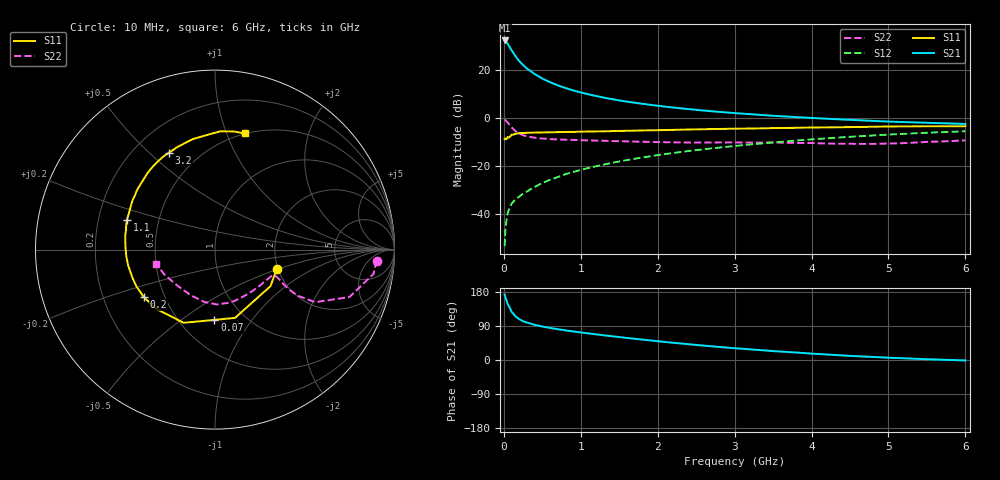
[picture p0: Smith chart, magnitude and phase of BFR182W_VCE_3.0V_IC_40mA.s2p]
! Infineon Technologies  Discrete & RF Semiconductors
! BFR182W
! VCE =  3.0 V,  IC =  40 mA
! Common Emitter S-Parameters:  Jan 2017
# GHz  S  MA  R  50
!  f  S11  S21  S12  S22
! GHz  MAG  ANG  MAG  ANG  MAG  ANG  MAG  ANG
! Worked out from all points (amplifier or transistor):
!   77 points, 10 MHz to 6 GHz, reference 50 ohm
!   highest |S21| = 32.3 dB at 10 MHz (marker M1)
!   |S21| within 3 dB of that: start of sweep to 80.02 MHz
!   unconditionally stable (mu >= 1): 321.3 MHz to 2.506 GHz
!   at 130 MHz: K = 0.64, MSG = 30.8 dB, |S12| = -34.8 dB
!   at 2.2 GHz: K = 1.04, MAG = 8.3 dB, |S12| = -14.7 dB
!   at 6 GHz: K = 0.93, MSG = 1.5 dB, |S12| = -5.6 dB
!   S11 on the Smith chart (normalised r, x): 10 MHz: 1.97, -0.49; 70 MHz: 0.73, -0.67; 200 MHz: 0.38, -0.26; 1.1 GHz: 0.33, +0.15; 3.2 GHz: 0.34, +0.58; 6 GHz: 0.50, +1.16
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0.01  0.3608 -17.3  41.05 172.6  0.0021 73.2  0.9023 -3.9
0.02  0.3702 -33.4  40.73 165.8  0.0045 78.8  0.8937 -8.7
0.05  0.3965 -73.7  35.14 147.3  0.0102 67.3  0.7943 -19.4
0.07  0.3915 -90.5  30.96 140.7  0.0125 65.2  0.7278 -22.2
0.1  0.4437 -113.2  25.78 127.0  0.016 63.1  0.6324 -27.6
0.15  0.464 -134.3  19.41 115.2  0.0198 59.8  0.5277 -29.2
0.2  0.4771 -146.4  15.32 107.8  0.0226 60.2  0.4691 -28.3
0.25  0.4833 -155.1  12.59 102.4  0.0262 62.0  0.4334 -27.0
0.3  0.4861 -161.3  10.65 98.7  0.0289 64.4  0.4098 -25.8
0.4  0.4917 -169.7  8.152 92.7  0.0361 67.5  0.3838 -24.2
0.5  0.4956 -175.8  6.576 88.3  0.0436 70.2  0.3694 -23.5
0.6  0.4986 179.0  5.529 84.6  0.0509 70.8  0.3599 -23.4
0.7  0.5018 175.1  4.76 81.4  0.058 73.2  0.3539 -23.8
0.9  0.5075 167.6  3.728 75.4  0.0738 73.8  0.3453 -25.8
1.1  0.5178 161.4  3.088 70.2  0.0898 74.2  0.3381 -28.5
1.5  0.5321 150.9  2.307 60.5  0.1228 73.3  0.3246 -35.5
2.1  0.5553 136.8  1.708 47.5  0.1754 70.1  0.3095 -49.8
3.1  0.5949 117.3  1.222 29.7  0.2679 61.8  0.305 -77.4
3.2  0.5976 115.4  1.191 28.2  0.2773 60.8  0.3043 -80.0
4.1  0.6294 100.0  0.975 15.7  0.3638 51.5  0.2938 -104.6
5.1  0.6605 86.1  0.824 5.3  0.4542 40.0  0.2931 -140.2
6  0.6684 75.5  0.744 -1.2  0.5248 29.4  0.3381 -166.7
